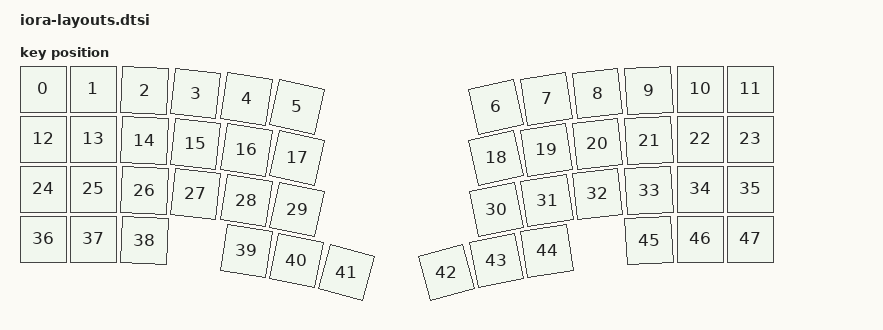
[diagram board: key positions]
// Key centers and rotations from the iOra v0.9.0 PCBs, using 17 mm per unit.
// The halves are shown side by side with one unit of space between them.
/ {
    iora_layout: iora-layout {
        compatible = "zmk,physical-layout";
        display-name = "iOra";
        transform = <&iora_transform>;
        kscan = <&kscan0>;
        keys
            //                     w   h    x    y    rot   rx   ry
            // Row 1 left.
            = <&key_physical_attrs  100  100    0    0       0   50   50>
            , <&key_physical_attrs  100  100  100    0       0  150   50>
            , <&key_physical_attrs  100  100  203    3     300  253   53>
            , <&key_physical_attrs  100  100  305    9     600  355   59>
            , <&key_physical_attrs  100  100  407   20     900  457   70>
            , <&key_physical_attrs  100  100  508   36    1200  558   86>
            // Row 1 right.
            , <&key_physical_attrs  100  100  906   36 (-1200)  956   86>
            , <&key_physical_attrs  100  100 1007   20  (-900) 1057   70>
            , <&key_physical_attrs  100  100 1109    9  (-600) 1159   59>
            , <&key_physical_attrs  100  100 1212    3  (-300) 1262   53>
            , <&key_physical_attrs  100  100 1314    0       0 1364   50>
            , <&key_physical_attrs  100  100 1414    0       0 1464   50>
            // Row 2 left.
            , <&key_physical_attrs  100  100    0  100       0   50  150>
            , <&key_physical_attrs  100  100  100  100       0  150  150>
            , <&key_physical_attrs  100  100  203  103     300  253  153>
            , <&key_physical_attrs  100  100  305  110     600  355  160>
            , <&key_physical_attrs  100  100  407  122     900  457  172>
            , <&key_physical_attrs  100  100  508  138    1200  558  188>
            // Row 2 right.
            , <&key_physical_attrs  100  100  906  138 (-1200)  956  188>
            , <&key_physical_attrs  100  100 1007  122  (-900) 1057  172>
            , <&key_physical_attrs  100  100 1109  110  (-600) 1159  160>
            , <&key_physical_attrs  100  100 1212  103  (-300) 1262  153>
            , <&key_physical_attrs  100  100 1314  100       0 1364  150>
            , <&key_physical_attrs  100  100 1414  100       0 1464  150>
            // Row 3 left.
            , <&key_physical_attrs  100  100    0  200       0   50  250>
            , <&key_physical_attrs  100  100  100  200       0  150  250>
            , <&key_physical_attrs  100  100  203  203     300  253  253>
            , <&key_physical_attrs  100  100  305  210     600  355  260>
            , <&key_physical_attrs  100  100  407  223     900  457  273>
            , <&key_physical_attrs  100  100  508  241    1200  558  291>
            // Row 3 right.
            , <&key_physical_attrs  100  100  907  241 (-1200)  957  291>
            , <&key_physical_attrs  100  100 1008  223  (-900) 1058  273>
            , <&key_physical_attrs  100  100 1109  210  (-600) 1159  260>
            , <&key_physical_attrs  100  100 1212  203  (-300) 1262  253>
            , <&key_physical_attrs  100  100 1314  200       0 1364  250>
            , <&key_physical_attrs  100  100 1414  200       0 1464  250>
            // Row 4 left.
            , <&key_physical_attrs  100  100    0  300       0   50  350>
            , <&key_physical_attrs  100  100  100  300       0  150  350>
            , <&key_physical_attrs  100  100  203  303     300  253  353>
            , <&key_physical_attrs  100  100  407  324     900  457  374>
            , <&key_physical_attrs  100  100  507  343    1200  557  393>
            , <&key_physical_attrs  100  100  607  367    1500  657  417>
            // Row 4 right.
            , <&key_physical_attrs  100  100  807  367 (-1500)  857  417>
            , <&key_physical_attrs  100  100  907  343 (-1200)  957  393>
            , <&key_physical_attrs  100  100 1008  324  (-900) 1058  374>
            , <&key_physical_attrs  100  100 1212  303  (-300) 1262  353>
            , <&key_physical_attrs  100  100 1314  300       0 1364  350>
            , <&key_physical_attrs  100  100 1414  300       0 1464  350>
            ;
    };
};
